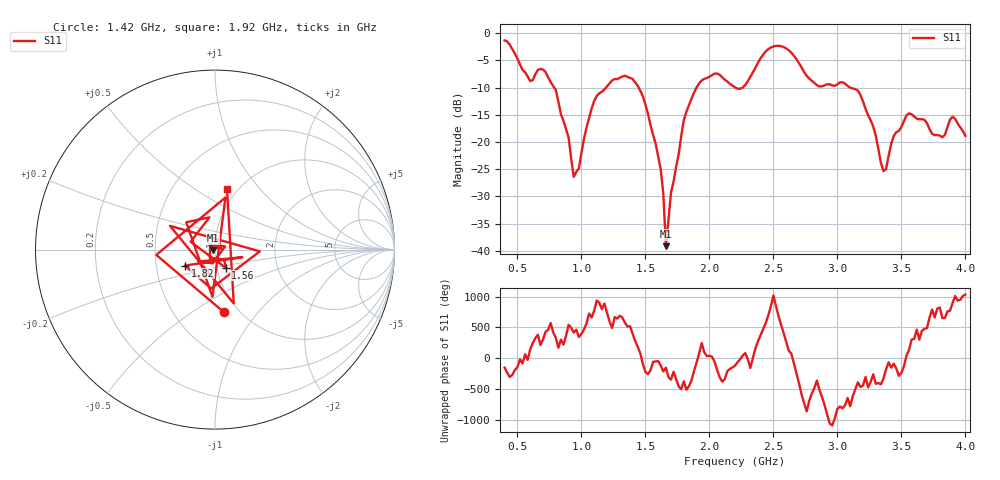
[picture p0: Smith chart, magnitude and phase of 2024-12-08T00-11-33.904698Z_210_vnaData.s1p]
!Created with skrf (http://scikit-rf.org).
# Hz S RI R 50.0
!freq ReS11 ImS11
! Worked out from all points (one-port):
!   181 points, 400 MHz to 4 GHz, reference 50 ohm
!   lowest |S11| = -39.2 dB at 1.66 GHz (marker M1), VSWR 1.02, Z = 49 - j0.475 ohm
!   |S11| at or under -10 dB: 787.7 MHz to 1.192 GHz (404.5 MHz wide, 40.9 % of centre); 1.447 GHz to 1.899 GHz (451.8 MHz wide, 27 % of centre); 3.099 GHz to end of sweep (the widest 3 of 4)
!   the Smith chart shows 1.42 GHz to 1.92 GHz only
!   S11 on the Smith chart (normalised r, x): 1.42 GHz: 0.86, -0.68; 1.56 GHz: 1.10, -0.22; 1.82 GHz: 0.70, -0.13; 1.92 GHz: 0.89, +0.69
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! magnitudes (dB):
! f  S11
! 400 MHz  -1.3
! 600 MHz  -8.8
! 720 MHz  -7.1
! 860 MHz  -16.1
! 940 MHz  -26.4
! 1.1 GHz  -12.4
! 1.3 GHz  -8.2
! 1.42 GHz  -9.0
! 1.56 GHz  -18.7
! 1.62 GHz  -25.1
! 1.64 GHz  -29.5
! 1.66 GHz  -39.2
! 1.7 GHz  -29.3
! 1.76 GHz  -22.2
! 1.82 GHz  -14.4
! 1.92 GHz  -9.2
! 2.2 GHz  -10.0
! 2.48 GHz  -2.6
! 2.66 GHz  -4.1
! 2.84 GHz  -9.6
! 3.1 GHz  -10.0
! 3.28 GHz  -17.2
! 3.36 GHz  -25.4
! 3.44 GHz  -18.9
! 3.56 GHz  -14.7
! 3.82 GHz  -19.1
! 3.9 GHz  -15.4
! 4 GHz  -18.9
